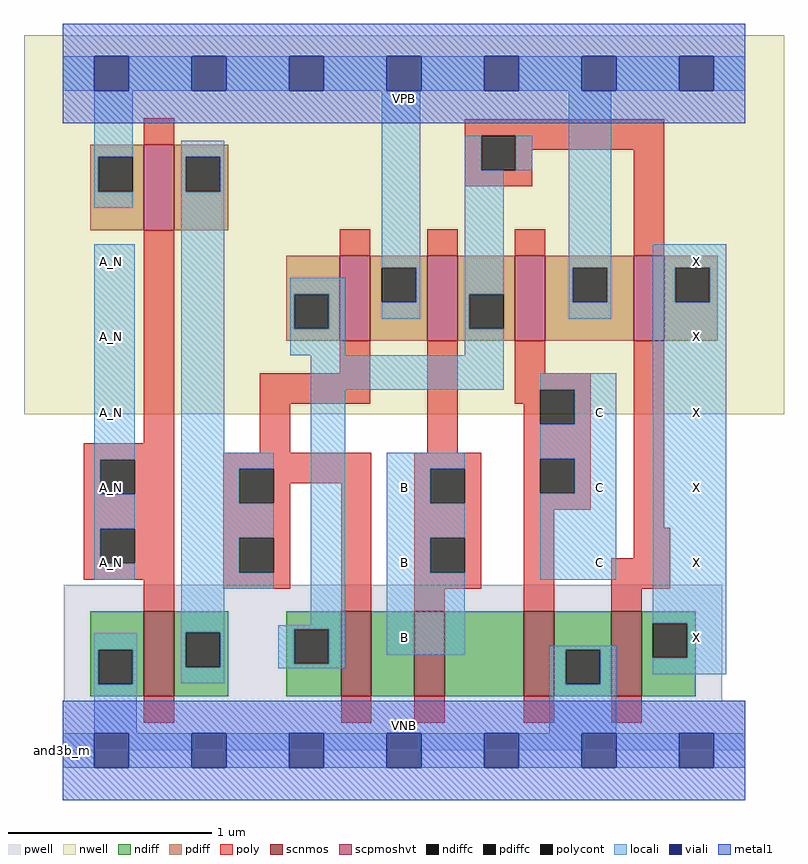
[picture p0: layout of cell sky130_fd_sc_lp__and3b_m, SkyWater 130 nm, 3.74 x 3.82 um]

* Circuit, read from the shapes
.subckt sky130_fd_sc_lp__and3b_m A_N B C VGND VNB VPB VPWR X
XM1 n1 A_N VGND VNB sky130_fd_pr__nfet_01v8 w=0.42 l=0.15
XM2 n2 n1 n3 VNB sky130_fd_pr__nfet_01v8 w=0.42 l=0.15
XM3 n4 B n2 VNB sky130_fd_pr__nfet_01v8 w=0.42 l=0.15
XM4 VGND C n4 VNB sky130_fd_pr__nfet_01v8 w=0.42 l=0.15
XM5 X n3 VGND VNB sky130_fd_pr__nfet_01v8 w=0.42 l=0.15
XM6 n1 A_N VPWR VPB sky130_fd_pr__pfet_01v8_hvt w=0.42 l=0.15
XM7 VPWR n1 n3 VPB sky130_fd_pr__pfet_01v8_hvt w=0.42 l=0.15
XM8 n3 B VPWR VPB sky130_fd_pr__pfet_01v8_hvt w=0.42 l=0.15
XM9 VPWR C n3 VPB sky130_fd_pr__pfet_01v8_hvt w=0.42 l=0.15
XM10 X n3 VPWR VPB sky130_fd_pr__pfet_01v8_hvt w=0.42 l=0.15
.ends

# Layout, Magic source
magic
tech sky130A
magscale 1 2
<< nwell >>
rect -38 331 710 704
<< pwell >>
rect 1 49 649 163
rect 0 0 672 49
<< scnmos >>
rect 80 53 110 137
rect 274 53 304 137
rect 346 53 376 137
rect 454 53 484 137
rect 540 53 570 137
<< scpmoshvt >>
rect 80 512 110 596
rect 273 403 303 487
rect 359 403 389 487
rect 445 403 475 487
rect 562 403 592 487
<< ndiff >>
rect 27 99 80 137
rect 27 65 35 99
rect 69 65 80 99
rect 27 53 80 65
rect 110 116 163 137
rect 110 82 121 116
rect 155 82 163 116
rect 110 53 163 82
rect 220 119 274 137
rect 220 85 228 119
rect 262 85 274 119
rect 220 53 274 85
rect 304 53 346 137
rect 376 53 454 137
rect 484 99 540 137
rect 484 65 495 99
rect 529 65 540 99
rect 484 53 540 65
rect 570 125 623 137
rect 570 91 581 125
rect 615 91 623 125
rect 570 53 623 91
<< pdiff >>
rect 27 584 80 596
rect 27 550 35 584
rect 69 550 80 584
rect 27 512 80 550
rect 110 584 163 596
rect 110 550 121 584
rect 155 550 163 584
rect 110 512 163 550
rect 220 449 273 487
rect 220 415 228 449
rect 262 415 273 449
rect 220 403 273 415
rect 303 475 359 487
rect 303 441 314 475
rect 348 441 359 475
rect 303 403 359 441
rect 389 449 445 487
rect 389 415 400 449
rect 434 415 445 449
rect 389 403 445 415
rect 475 475 562 487
rect 475 441 502 475
rect 536 441 562 475
rect 475 403 562 441
rect 592 475 645 487
rect 592 441 603 475
rect 637 441 645 475
rect 592 403 645 441
<< ndiffc >>
rect 35 65 69 99
rect 121 82 155 116
rect 228 85 262 119
rect 495 65 529 99
rect 581 91 615 125
<< pdiffc >>
rect 35 550 69 584
rect 121 550 155 584
rect 228 415 262 449
rect 314 441 348 475
rect 400 415 434 449
rect 502 441 536 475
rect 603 441 637 475
<< poly >>
rect 80 596 110 622
rect 396 605 592 621
rect 396 571 412 605
rect 446 591 592 605
rect 446 571 462 591
rect 396 555 462 571
rect 80 302 110 512
rect 273 487 303 513
rect 359 487 389 513
rect 445 487 475 513
rect 562 487 592 591
rect 273 371 303 403
rect 21 286 110 302
rect 194 341 303 371
rect 194 293 224 341
rect 359 293 389 403
rect 445 371 475 403
rect 445 355 520 371
rect 445 341 470 355
rect 454 321 470 341
rect 504 321 520 355
rect 21 252 37 286
rect 71 252 110 286
rect 21 218 110 252
rect 21 184 37 218
rect 71 184 110 218
rect 21 168 110 184
rect 80 137 110 168
rect 158 277 304 293
rect 158 243 174 277
rect 208 263 304 277
rect 208 243 224 263
rect 158 209 224 243
rect 158 175 174 209
rect 208 175 224 209
rect 158 159 224 175
rect 274 137 304 263
rect 346 277 412 293
rect 346 243 362 277
rect 396 243 412 277
rect 346 209 412 243
rect 346 175 362 209
rect 396 175 412 209
rect 346 159 412 175
rect 454 287 520 321
rect 454 253 470 287
rect 504 253 520 287
rect 454 237 520 253
rect 346 137 376 159
rect 454 137 484 237
rect 562 219 592 403
rect 562 189 598 219
rect 540 159 598 189
rect 540 137 570 159
rect 80 27 110 53
rect 274 27 304 53
rect 346 27 376 53
rect 454 27 484 53
rect 540 27 570 53
<< polycont >>
rect 412 571 446 605
rect 470 321 504 355
rect 37 252 71 286
rect 37 184 71 218
rect 174 243 208 277
rect 174 175 208 209
rect 362 243 396 277
rect 362 175 396 209
rect 470 253 504 287
<< locali >>
rect 0 649 31 683
rect 65 649 127 683
rect 161 649 223 683
rect 257 649 319 683
rect 353 649 415 683
rect 449 649 511 683
rect 545 649 607 683
rect 641 649 672 683
rect 31 584 69 649
rect 31 550 35 584
rect 31 534 69 550
rect 117 584 159 600
rect 117 550 121 584
rect 155 550 159 584
rect 31 286 71 498
rect 31 252 37 286
rect 31 218 71 252
rect 31 184 37 218
rect 31 168 71 184
rect 117 293 159 550
rect 314 475 352 649
rect 224 449 278 465
rect 224 415 228 449
rect 262 415 278 449
rect 348 441 352 475
rect 314 425 352 441
rect 396 571 412 605
rect 446 571 462 605
rect 396 449 434 571
rect 224 389 278 415
rect 396 415 400 449
rect 498 475 540 649
rect 498 441 502 475
rect 536 441 540 475
rect 498 425 540 441
rect 581 475 653 498
rect 581 441 603 475
rect 637 441 653 475
rect 396 389 434 415
rect 244 355 434 389
rect 470 355 545 371
rect 117 277 208 293
rect 117 243 174 277
rect 117 209 208 243
rect 117 175 174 209
rect 117 159 208 175
rect 117 116 159 159
rect 244 123 278 355
rect 504 321 545 355
rect 31 99 73 115
rect 31 65 35 99
rect 69 65 73 99
rect 117 82 121 116
rect 155 82 159 116
rect 117 66 159 82
rect 212 119 278 123
rect 212 85 228 119
rect 262 85 278 119
rect 319 277 396 293
rect 319 243 362 277
rect 319 209 396 243
rect 319 175 362 209
rect 319 94 396 175
rect 470 287 545 321
rect 504 253 545 287
rect 470 168 545 253
rect 581 125 653 441
rect 479 99 545 103
rect 212 81 278 85
rect 31 17 73 65
rect 479 65 495 99
rect 529 65 545 99
rect 615 91 653 125
rect 581 75 653 91
rect 479 17 545 65
rect 0 -17 31 17
rect 65 -17 127 17
rect 161 -17 223 17
rect 257 -17 319 17
rect 353 -17 415 17
rect 449 -17 511 17
rect 545 -17 607 17
rect 641 -17 672 17
<< viali >>
rect 31 649 65 683
rect 127 649 161 683
rect 223 649 257 683
rect 319 649 353 683
rect 415 649 449 683
rect 511 649 545 683
rect 607 649 641 683
rect 31 -17 65 17
rect 127 -17 161 17
rect 223 -17 257 17
rect 319 -17 353 17
rect 415 -17 449 17
rect 511 -17 545 17
rect 607 -17 641 17
<< metal1 >>
rect 0 683 672 715
rect 0 649 31 683
rect 65 649 127 683
rect 161 649 223 683
rect 257 649 319 683
rect 353 649 415 683
rect 449 649 511 683
rect 545 649 607 683
rect 641 649 672 683
rect 0 617 672 649
rect 0 17 672 49
rect 0 -17 31 17
rect 65 -17 127 17
rect 161 -17 223 17
rect 257 -17 319 17
rect 353 -17 415 17
rect 449 -17 511 17
rect 545 -17 607 17
rect 641 -17 672 17
rect 0 -49 672 -17
<< labels >>
flabel pwell s 0 0 672 49 0 FreeSans 200 0 0 0 VNB
port 5 nsew ground bidirectional
flabel nwell s 0 617 672 666 0 FreeSans 200 0 0 0 VPB
port 6 nsew power bidirectional
rlabel comment s 0 0 0 0 4 and3b_m
flabel metal1 s 0 617 672 666 0 FreeSans 340 0 0 0 VPWR
port 7 nsew power bidirectional
flabel metal1 s 0 0 672 49 0 FreeSans 340 0 0 0 VGND
port 4 nsew ground bidirectional
flabel locali s 319 94 353 128 0 FreeSans 340 0 0 0 B
port 2 nsew signal input
flabel locali s 319 168 353 202 0 FreeSans 340 0 0 0 B
port 2 nsew signal input
flabel locali s 319 242 353 276 0 FreeSans 340 0 0 0 B
port 2 nsew signal input
flabel locali s 511 168 545 202 0 FreeSans 340 0 0 0 C
port 3 nsew signal input
flabel locali s 511 242 545 276 0 FreeSans 340 0 0 0 C
port 3 nsew signal input
flabel locali s 511 316 545 350 0 FreeSans 340 0 0 0 C
port 3 nsew signal input
flabel locali s 31 168 65 202 0 FreeSans 340 0 0 0 A_N
port 1 nsew signal input
flabel locali s 31 242 65 276 0 FreeSans 340 0 0 0 A_N
port 1 nsew signal input
flabel locali s 31 316 65 350 0 FreeSans 340 0 0 0 A_N
port 1 nsew signal input
flabel locali s 31 390 65 424 0 FreeSans 340 0 0 0 A_N
port 1 nsew signal input
flabel locali s 31 464 65 498 0 FreeSans 340 0 0 0 A_N
port 1 nsew signal input
flabel locali s 607 94 641 128 0 FreeSans 340 0 0 0 X
port 8 nsew signal output
flabel locali s 607 168 641 202 0 FreeSans 340 0 0 0 X
port 8 nsew signal output
flabel locali s 607 242 641 276 0 FreeSans 340 0 0 0 X
port 8 nsew signal output
flabel locali s 607 316 641 350 0 FreeSans 340 0 0 0 X
port 8 nsew signal output
flabel locali s 607 390 641 424 0 FreeSans 340 0 0 0 X
port 8 nsew signal output
flabel locali s 607 464 641 498 0 FreeSans 340 0 0 0 X
port 8 nsew signal output
<< properties >>
string LEFsite unit
string LEFclass CORE
string FIXED_BBOX 0 0 672 666
string GDS_FILE $PDKPATH/libs.ref/sky130_fd_sc_lp/gds/sky130_fd_sc_lp.gds
string LEFsymmetry X Y R90
string GDS_END 6387440
string GDS_START 6379914
<< end >>
